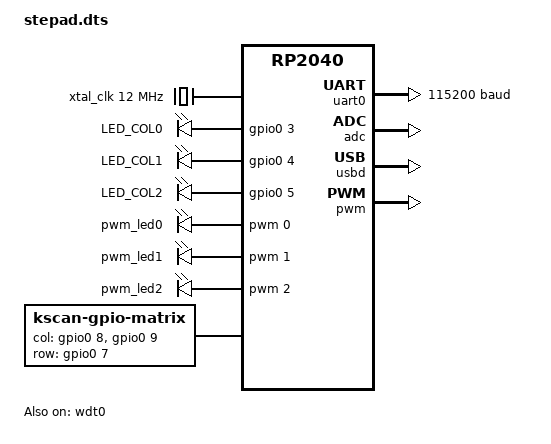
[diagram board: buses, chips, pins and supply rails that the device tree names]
/dts-v1/;

#include <freq.h>

#include <rpi_pico/rp2040.dtsi>
#include "stepad-pinctrl.dtsi"
#include <zephyr/dt-bindings/pwm/pwm.h>

#include <zephyr/dt-bindings/i2c/i2c.h>


/ {
	chosen {
		zephyr,sram = &sram0;
		zephyr,flash = &flash0;
		zephyr,flash-controller = &ssi;
		zephyr,console = &uart0;
		zephyr,shell-uart = &uart0;
		zephyr,code-partition = &code_partition;
	};

	xtal_clk: xtal-clk {
		compatible = "fixed-clock";
		clock-frequency = <12000000>;
		#clock-cells = <0>;
	};

	aliases {
		watchdog0 = &wdt0;
	};

    /* LED STUFF */
	aliases {
		led-col0 = &led0;
        led-col1 = &led1;
        led-col2 = &led2;
		pwm-led-red = &pwm_led0;
		pwm-led-green = &pwm_led1;
		pwm-led-blue = &pwm_led2;
	};

    leds {
		compatible = "gpio-leds";
		led0: led_0 {
			gpios = <&gpio0 3 GPIO_ACTIVE_HIGH>;
			label = "LED_COL0";
		};
        led1: led_1 {
			gpios = <&gpio0 4 GPIO_ACTIVE_HIGH>;
			label = "LED_COL1";
		};
        led2: led_2 {
			gpios = <&gpio0 5 GPIO_ACTIVE_HIGH>;
			label = "LED_COL2";
		};
	};

	pwm_leds {
		compatible = "pwm-leds";
		status = "okay";
		pwm_led0: pwm_led_red {
			pwms = <&pwm 0 PWM_MSEC(20) PWM_POLARITY_INVERTED>;
		};

		pwm_led1: pwm_led_green {
			pwms = <&pwm 1 PWM_MSEC(20) PWM_POLARITY_INVERTED>;
		};

		pwm_led2: pwm_led_blue {
			pwms = <&pwm 2 PWM_MSEC(20) PWM_POLARITY_INVERTED>;
		};
		
	};

    /* KSCAN */
    kscan0: kscan_0 {
        compatible = "kscan-gpio-matrix";
        label="KSCAN";
        diode-direction = "col2row";
        col-gpio=
            <&gpio0 8 GPIO_ACTIVE_HIGH>,
            <&gpio0 9 GPIO_ACTIVE_HIGH>;

        row-gpio=
            <&gpio0 7 (GPIO_ACTIVE_HIGH | GPIO_PULL_DOWN)>;
    };
};

&flash0 {
	reg = <0x10000000 DT_SIZE_M(2)>;

	partitions {
		compatible = "fixed-partitions";
		#address-cells = <1>;
		#size-cells = <1>;

		/* Reserved memory for the second stage bootloader */
		second_stage_bootloader: partition@0 {
			label = "second_stage_bootloader";
			reg = <0x00000000 0x100>;
			read-only;
		};

		/*
		 * Usable flash. Starts at 0x100, after the bootloader. The partition
		 * size is 2MB minus the 0x100 bytes taken by the bootloader.
		 */
		code_partition: partition@100 {
			label = "code-partition";
			reg = <0x100 (DT_SIZE_M(2) - 0x100)>;
			read-only;
		};
	};
};

&uart0 {
	current-speed = <115200>;
	status = "okay";
	pinctrl-0 = <&uart0_default>;
	pinctrl-names = "default";
};

&gpio0 {
	status = "okay";
};

&wdt0 {
	status = "okay";
};

&adc {
	status = "okay";
	pinctrl-0 = <&adc_default>;
	pinctrl-names = "default";
};

zephyr_udc0: &usbd {
	status = "okay";
};

&pwm {
	status = "okay";
	pinctrl-0 = <&pwm_ch0a0b1b_default>;
	pinctrl-names = "default";
};

&vreg {
	regulator-always-on;
	regulator-allowed-modes = <REGULATOR_RPI_PICO_MODE_NORMAL>;
};
